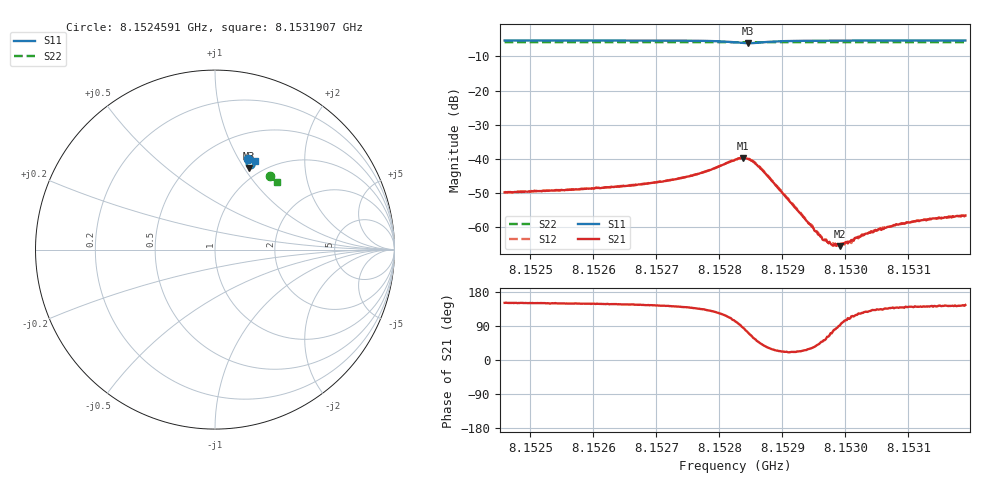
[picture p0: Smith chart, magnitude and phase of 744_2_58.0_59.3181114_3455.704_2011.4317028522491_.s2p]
#  HZ  S  RI  R  50.00
! Rohde & Schwarz Vector Network Analyzer
! Rohde-Schwarz,ZNB20-2Port,1311601062101988,3.16
! Created: UTC 3/21/2024, 1:23:43 AM
! freq[Hz]  re:S11  im:S11  re:S21  im:S21  re:S12  im:S12  re:S22  im:S22
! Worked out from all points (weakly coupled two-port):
!   401 points, 8.1524591 GHz to 8.1531907 GHz, reference 50 ohm
!   highest |S21| = -39.74 dB at 8.1528377 GHz (marker M1); lowest = -65.5 dB at 8.1529913 GHz (marker M2)
!   lowest |S11| = -6.2 dB at 8.152845 GHz (marker M3), VSWR 2.94, Z = 44 + j52.8 ohm
!   |S11| at or under -10 dB: nowhere
!   |S22| runs from -5.9 to -5.8 dB; largest |S21 - S12| = 0.00027
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8.15245906e9  0.1861 0.5072  -0.00283 0.00158  -0.00287 0.00163  0.3085 0.4077
8.15258161e9  0.196 0.5034  -0.0031 0.0019  -0.00309 0.00195  0.3145 0.4027
8.15266391e9  0.2034 0.4999  -0.00343 0.00226  -0.00343 0.00235  0.3186 0.3993
8.15270415e9  0.2078 0.4973  -0.00372 0.00272  -0.00371 0.0028  0.3205 0.3976
8.15276816e9  0.2167 0.4886  -0.00434 0.0043  -0.00434 0.00436  0.3239 0.3947
8.15282486e9  0.2148 0.4597  -0.00212 0.00948  -0.00213 0.00957  0.326 0.3914
8.15283767e9  0.2013 0.453  0.000861 0.0103  0.000929 0.0104  0.3262 0.3908
8.15284498e9  0.1914 0.4539  0.0029 0.00966  0.00296 0.00972  0.326 0.3907
8.15285596e9  0.1799 0.4629  0.00494 0.00732  0.00501 0.00739  0.3263 0.3907
8.15286876e9  0.1766 0.4765  0.0052 0.00436  0.00535 0.00442  0.327 0.3908
8.15294741e9  0.1992 0.4978  0.000862 0.000538  0.000908 0.00055  0.3315 0.3879
8.15295838e9  0.2012 0.4978  0.000574 0.000526  0.000594 0.00052  0.3322 0.3875
8.15296753e9  0.2028 0.4977  0.000396 0.000515  0.000385 0.000522  0.3326 0.3871
8.15297484e9  0.204 0.4976  0.000261 0.000554  0.000254 0.000509  0.333 0.3868
8.15298216e9  0.205 0.4976  9.67e-05 0.000537  0.000118 0.000545  0.3334 0.3867
8.1529913e9  0.2062 0.4975  -9e-06 0.00053  9.72e-06 0.000547  0.3339 0.3861
8.15299496e9  0.2068 0.4973  -8.4e-05 0.000559  -7.22e-05 0.000535  0.3339 0.3861
8.15300411e9  0.2079 0.4971  -0.000206 0.000546  -0.000158 0.000573  0.3344 0.3856
8.15304252e9  0.2123 0.4962  -0.000564 0.000628  -0.000549 0.000673  0.3364 0.3839
8.15306995e9  0.215 0.4955  -0.000747 0.000692  -0.000713 0.000736  0.3377 0.3827
8.15312482e9  0.2198 0.4937  -0.001 0.000798  -0.001 0.000828  0.3402 0.3803
8.15319066e9  0.2249 0.4918  -0.00122 0.000853  -0.00118 0.000877  0.3433 0.3775
